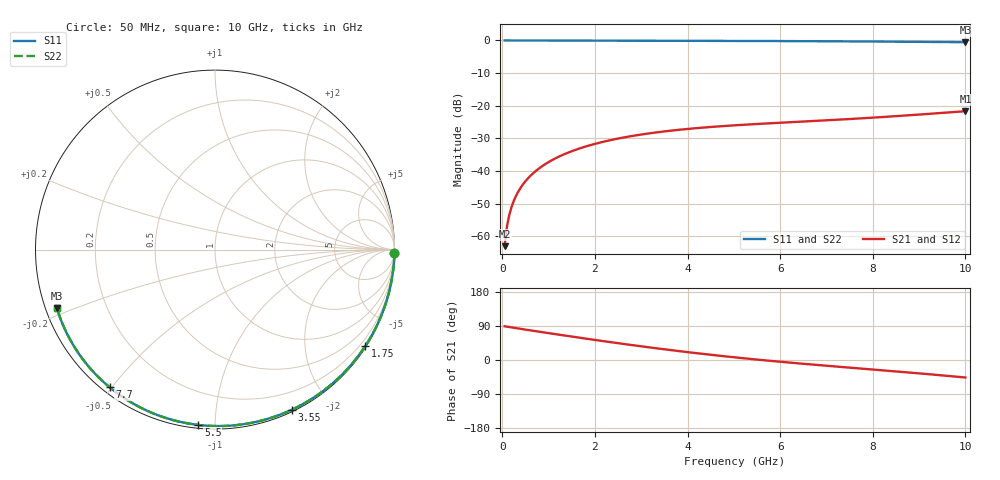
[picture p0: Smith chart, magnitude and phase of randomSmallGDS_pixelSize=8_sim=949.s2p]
! freq	dB(S11)	phase(S11)	dB(S12)	phase(S12)
!  dB(S21)	phase(S21)	dB(S22)	phase(S22)
!S-par simulation data
#  GHz  S  DB  R 50
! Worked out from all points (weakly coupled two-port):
!   200 points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, 50 MHz to 10 GHz, reference 50 ohm
!   highest |S21| = -21.68 dB at 10 GHz (marker M1); lowest = -63.0 dB at 50 MHz (marker M2)
!   lowest |S11| = -0.5 dB at 10 GHz (marker M3), VSWR 32.07, Z = 1.61 - j8.95 ohm
!   |S11| at or under -10 dB: nowhere
!   |S22| runs from -0.5 to 0.0 dB; largest |S21 - S12| = 0
!   S11 on the Smith chart (normalised r, x): 50 MHz: open; 1.75 GHz: 0.03, -3.41; 3.55 GHz: 0.02, -1.59; 5.5 GHz: 0.02, -0.91; 7.7 GHz: 0.02, -0.49; 10 GHz: 0.03, -0.18
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0.05  -0.00 -1.0  -63.05 89.0  -63.05 89.0  -0.00 -1.0
0.1  -0.00 -1.9  -57.03 88.0  -57.03 88.0  -0.00 -1.9
0.15  -0.00 -2.9  -53.51 87.0  -53.51 87.0  -0.00 -2.9
0.2  -0.00 -3.8  -51.02 86.0  -51.02 86.0  -0.00 -3.8
0.25  -0.00 -4.8  -49.09 85.0  -49.09 85.0  -0.00 -4.8
0.35  -0.01 -6.7  -46.20 83.0  -46.20 83.0  -0.01 -6.7
0.5  -0.01 -9.5  -43.14 80.2  -43.14 80.2  -0.01 -9.5
0.7  -0.02 -13.3  -40.27 76.4  -40.27 76.4  -0.02 -13.3
1  -0.02 -18.9  -37.27 70.9  -37.27 70.9  -0.02 -18.9
1.35  -0.03 -25.4  -34.79 64.5  -34.79 64.5  -0.03 -25.4
1.75  -0.04 -32.7  -32.72 57.3  -32.72 57.3  -0.04 -32.7
2.6  -0.07 -47.9  -29.79 42.7  -29.79 42.7  -0.07 -47.9
3.4  -0.09 -61.8  -28.05 29.8  -28.05 29.8  -0.09 -61.7
3.55  -0.09 -64.3  -27.79 27.5  -27.79 27.5  -0.09 -64.3
4.3  -0.12 -76.6  -26.75 16.5  -26.75 16.5  -0.12 -76.6
5.05  -0.14 -88.5  -25.98 6.6  -25.98 6.6  -0.14 -88.5
5.5  -0.16 -95.5  -25.60 1.1  -25.60 1.1  -0.16 -95.4
6.7  -0.23 -113.2  -24.70 -12.1  -24.70 -12.1  -0.23 -113.2
7.7  -0.30 -127.5  -23.92 -22.0  -23.92 -22.0  -0.30 -127.4
8.35  -0.36 -136.6  -23.34 -28.5  -23.34 -28.5  -0.36 -136.5
9.2  -0.44 -148.4  -22.51 -37.3  -22.51 -37.3  -0.44 -148.4
10  -0.54 -159.7  -21.68 -46.2  -21.68 -46.2  -0.54 -159.6
